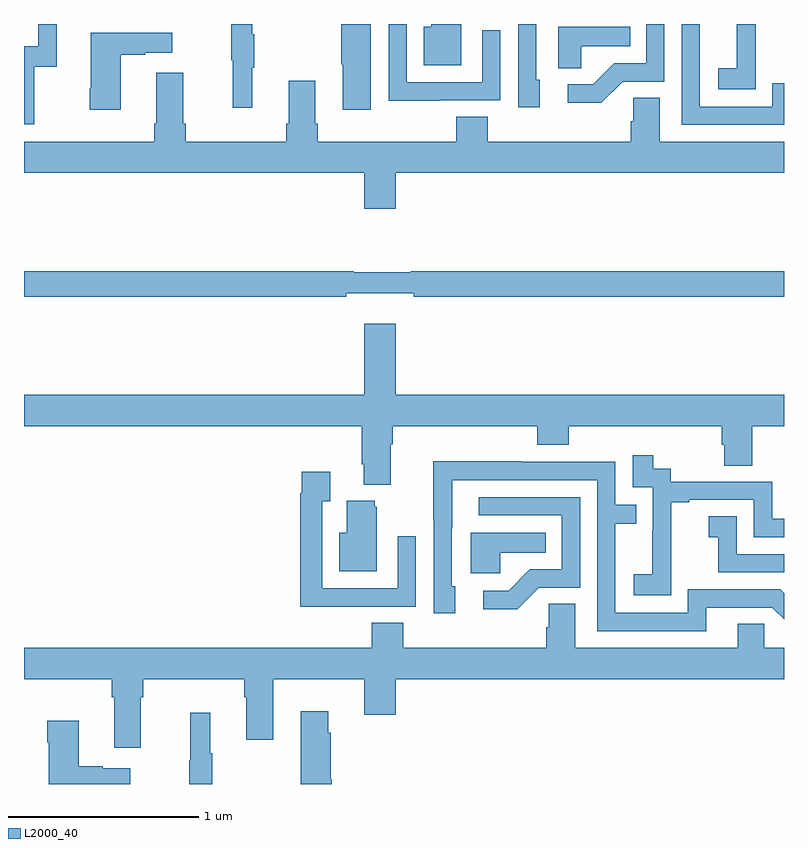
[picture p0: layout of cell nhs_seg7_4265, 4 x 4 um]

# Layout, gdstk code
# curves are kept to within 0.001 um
import gdstk
lib = gdstk.Library(unit=1e-6, precision=1e-09)
def P(c, l, *ps):  # polygons
    for p in ps: c.add(gdstk.Polygon(p, *l))
L2000_40 = (2000, 40)

nhs_seg7_4265 = lib.new_cell('nhs_seg7_4265')
P(nhs_seg7_4265, L2000_40, [(381.191,1067.598),(381.507,1067.598),(381.507,1067.968),(381.411,1067.968),(381.411,1067.694),(381.015,1067.694),(381.015,1068),(380.919,1068),(380.919,1067.597),(381.191,1067.597)],
  [(381.715,1067.706),(381.696,1067.706),(381.696,1068),(381.6,1068),(381.6,1067.562),(381.715,1067.562)],
  [(383,1067.688),(382.938,1067.688),(382.938,1067.565),(382.557,1067.565),(382.557,1068),(382.461,1068),(382.461,1067.469),(383,1067.469)],
  [(380.201,1067.771),(380.212,1067.771),(380.212,1067.945),(380.201,1067.945),(380.201,1068),(380.091,1068),(380.091,1067.808),(380.098,1067.808),(380.098,1067.559),(380.201,1067.559)],
  [(379.054,1067.775),(379.172,1067.775),(379.172,1068),(379.074,1068),(379.074,1067.883),(379,1067.883),(379,1067.472),(379.054,1067.472)],
  [(382.152,1067.697),(382.371,1067.697),(382.371,1068),(382.275,1068),(382.275,1067.793),(382.106,1067.793),(381.995,1067.682),(381.861,1067.682),(381.861,1067.585),(382.039,1067.585)],
  [(382.851,1067.863),(382.85,1067.863),(382.85,1068),(382.752,1068),(382.752,1067.996),(382.751,1067.996),(382.751,1067.767),(382.653,1067.767),(382.653,1067.657),(382.851,1067.657)],
  [(380.824,1068),(380.671,1068),(380.671,1067.788),(380.678,1067.788),(380.678,1067.55),(380.824,1067.55)],
  [(381.301,1068),(381.143,1068),(381.143,1067.986),(381.104,1067.986),(381.104,1067.783),(381.301,1067.783)],
  [(381.933,1067.882),(382.19,1067.882),(382.19,1067.986),(381.812,1067.986),(381.812,1067.767),(381.933,1067.767)],
  [(379.51,1067.839),(379.637,1067.839),(379.637,1067.849),(379.78,1067.849),(379.78,1067.953),(379.352,1067.953),(379.352,1067.662),(379.345,1067.662),(379.345,1067.55),(379.51,1067.55)],
  [(380.956,1067.216),(383,1067.216),(383,1067.38),(382.345,1067.38),(382.345,1067.612),(382.206,1067.612),(382.206,1067.489),(382.193,1067.489),(382.193,1067.38),(381.44,1067.38),(381.44,1067.513),(381.275,1067.513),(381.275,1067.38),(380.546,1067.38),(380.546,1067.476),(380.533,1067.476),(380.533,1067.701),(380.393,1067.701),(380.393,1067.476),(380.381,1067.476),(380.381,1067.38),(379.85,1067.38),(379.85,1067.476),(379.837,1067.476),(379.837,1067.743),(379.697,1067.743),(379.697,1067.476),(379.685,1067.476),(379.685,1067.38),(379,1067.38),(379,1067.216),(380.792,1067.216),(380.792,1067.028),(380.956,1067.028)],
  [(380.696,1066.583),(381.052,1066.583),(381.052,1066.564),(383,1066.564),(383,1066.7),(381.035,1066.7),(381.035,1066.693),(380.735,1066.693),(380.735,1066.7),(379,1066.7),(379,1066.564),(380.696,1066.564)],
  [(380.929,1065.788),(380.942,1065.788),(380.942,1065.884),(381.701,1065.884),(381.701,1065.785),(381.866,1065.785),(381.866,1065.884),(382.673,1065.884),(382.673,1065.786),(382.685,1065.786),(382.685,1065.676),(382.833,1065.676),(382.833,1065.884),(383,1065.884),(383,1066.048),(380.956,1066.048),(380.956,1066.423),(380.792,1066.423),(380.792,1066.048),(379,1066.048),(379,1065.884),(380.777,1065.884),(380.777,1065.682),(380.789,1065.682),(380.789,1065.575),(380.929,1065.575)],
  [(382.407,1065.199),(382.406,1065.199),(382.406,1065.483),(382.501,1065.483),(382.501,1065.495),(382.842,1065.495),(382.842,1065.3),(383,1065.3),(383,1065.396),(382.938,1065.396),(382.938,1065.591),(382.404,1065.591),(382.404,1065.66),(382.312,1065.66),(382.312,1065.73),(382.203,1065.73),(382.203,1065.561),(382.308,1065.561),(382.308,1065.332),(382.307,1065.332),(382.307,1065.103),(382.209,1065.103),(382.209,1064.993),(382.407,1064.993)],
  [(382.591,1064.928),(382.938,1064.928),(383,1064.866),(383,1065.004),(382.98,1065.024),(382.494,1065.024),(382.494,1064.901),(382.113,1064.901),(382.113,1065.37),(382.223,1065.37),(382.223,1065.471),(382.113,1065.471),(382.113,1065.696),(381.617,1065.696),(381.617,1065.698),(381.154,1065.698),(381.154,1065.391),(381.156,1065.391),(381.156,1064.898),(381.271,1064.898),(381.271,1065.042),(381.252,1065.042),(381.253,1065.6),(382.017,1065.6),(382.017,1064.805),(382.591,1064.805)],
  [(380.747,1064.934),(381.063,1064.934),(381.063,1065.304),(380.967,1065.304),(380.967,1065.03),(380.571,1065.03),(380.571,1065.487),(380.611,1065.487),(380.611,1065.643),(380.463,1065.643),(380.463,1065.53),(380.455,1065.53),(380.455,1064.933),(380.747,1064.933)],
  [(381.708,1065.033),(381.927,1065.033),(381.927,1065.51),(381.393,1065.51),(381.393,1065.414),(381.831,1065.414),(381.831,1065.129),(381.662,1065.129),(381.551,1065.018),(381.417,1065.018),(381.417,1064.921),(381.595,1064.921)],
  [(380.857,1065.459),(380.846,1065.459),(380.846,1065.49),(380.699,1065.49),(380.699,1065.322),(380.66,1065.322),(380.66,1065.119),(380.857,1065.119)],
  [(383,1065.21),(382.752,1065.21),(382.752,1065.409),(382.605,1065.409),(382.605,1065.299),(382.654,1065.299),(382.654,1065.114),(383,1065.114)],
  [(381.507,1065.218),(381.746,1065.218),(381.746,1065.322),(381.35,1065.322),(381.35,1065.11),(381.507,1065.11)],
  [(379.615,1064.456),(379.628,1064.456),(379.628,1064.552),(380.159,1064.552),(380.159,1064.456),(380.171,1064.456),(380.171,1064.232),(380.311,1064.232),(380.311,1064.552),(380.792,1064.552),(380.792,1064.364),(380.956,1064.364),(380.956,1064.552),(383,1064.552),(383,1064.716),(382.896,1064.716),(382.896,1064.843),(382.757,1064.843),(382.757,1064.716),(381.901,1064.716),(381.901,1064.948),(381.762,1064.948),(381.762,1064.825),(381.749,1064.825),(381.749,1064.716),(380.996,1064.716),(380.996,1064.849),(380.831,1064.849),(380.831,1064.716),(379,1064.716),(379,1064.552),(379.463,1064.552),(379.463,1064.456),(379.475,1064.456),(379.475,1064.19),(379.615,1064.19)],
  [(380.62,1064.025),(380.615,1064.025),(380.615,1064.27),(380.602,1064.27),(380.602,1064.383),(380.456,1064.383),(380.456,1064),(380.62,1064)],
  [(379.99,1064.161),(379.979,1064.161),(379.979,1064.374),(379.876,1064.374),(379.876,1064.124),(379.869,1064.124),(379.869,1064),(379.99,1064)],
  [(379.558,1064.083),(379.415,1064.083),(379.415,1064.093),(379.288,1064.093),(379.288,1064.332),(379.123,1064.332),(379.123,1064.219),(379.13,1064.219),(379.13,1064),(379.558,1064)])

lib.write_gds('nhs_seg7_4265.gds')
